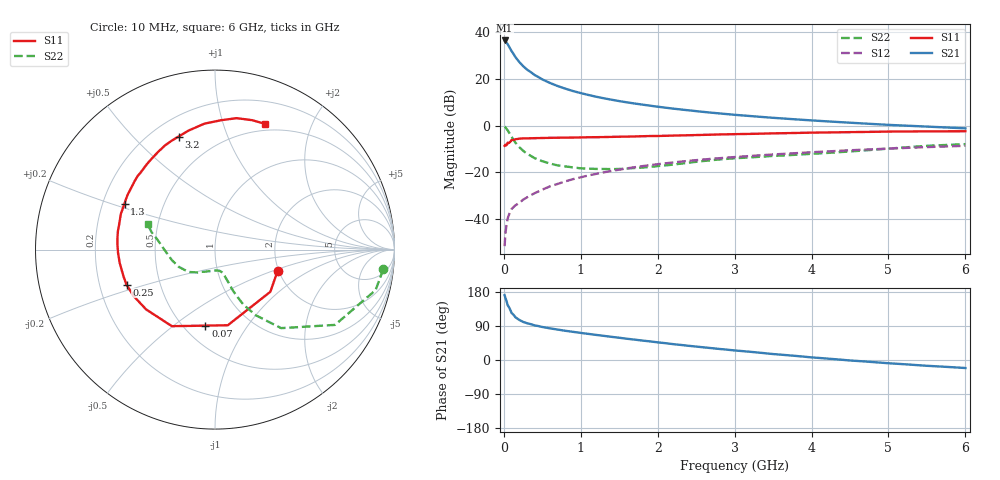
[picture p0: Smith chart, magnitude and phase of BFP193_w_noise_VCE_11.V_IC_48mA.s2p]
! (c) 2017  Infineon Technologies AG, Munich
! Infineon Technologies  Discrete & RF Semiconductors
! BFP193
! VCE =  11. V,  IC =  48 mA
! Common Emitter S-Parameters:  Jan 2017
# GHz  S  MA  R  50
!  f  S11  S21  S12  S22
! GHz  MAG  ANG  MAG  ANG  MAG  ANG  MAG  ANG
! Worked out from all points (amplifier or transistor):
!   77 points, 10 MHz to 6 GHz, reference 50 ohm
!   highest |S21| = 36.4 dB at 10 MHz (marker M1)
!   |S21| within 3 dB of that: start of sweep to 73.8 MHz
!   unconditionally stable (mu >= 1): 644.5 MHz to 2.438 GHz
!   at 130 MHz: K = 0.54, MSG = 32.6 dB, |S12| = -34.8 dB
!   at 2.2 GHz: K = 1.01, MAG = 10.8 dB, |S12| = -15.8 dB
!   at 6 GHz: K = 0.89, MSG = 3.7 dB, |S12| = -8.7 dB
!   lowest NFmin = 1.49 dB at 450 MHz
!   S11 on the Smith chart (normalised r, x): 10 MHz: 1.98, -0.54; 70 MHz: 0.63, -0.66; 250 MHz: 0.32, -0.17; 1.3 GHz: 0.29, +0.22; 3.2 GHz: 0.30, +0.68; 6 GHz: 0.43, +1.39
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0.01  0.3685 -18.5  66.43 171.2  0.0026 72.6  0.9443 -6.7
0.02  0.3877 -37.3  65.53 164.0  0.0048 84.7  0.9226 -14.2
0.05  0.4275 -80.4  55.19 144.6  0.0102 64.0  0.7894 -32.1
0.07  0.4269 -97.2  48.26 138.0  0.0126 61.5  0.6949 -37.9
0.1  0.4897 -119.4  39.55 124.2  0.0162 59.2  0.5718 -49.9
0.15  0.5082 -139.0  29.29 112.9  0.0195 55.2  0.4304 -58.2
0.2  0.5223 -150.3  22.98 105.8  0.0219 57.2  0.3448 -62.7
0.25  0.5303 -158.4  18.79 100.6  0.0257 59.1  0.2885 -64.8
0.3  0.5313 -163.8  15.84 97.1  0.0288 59.7  0.2487 -66.4
0.4  0.5361 -171.9  12.09 91.4  0.0354 63.7  0.2 -67.7
0.5  0.5405 -178.1  9.725 87.1  0.0423 64.9  0.172 -68.9
0.6  0.5443 177.2  8.161 83.5  0.0497 65.3  0.1533 -70.1
0.7  0.5475 173.2  7.01 80.3  0.0561 66.5  0.1398 -71.1
0.9  0.5518 165.7  5.471 74.3  0.071 66.0  0.1267 -75.3
1.1  0.5608 159.3  4.511 68.9  0.0853 65.2  0.1194 -80.0
1.3  0.5655 153.0  3.829 63.7  0.0992 63.6  0.1172 -86.4
2.1  0.6022 131.2  2.413 44.4  0.1549 55.2  0.1399 -117.9
3.1  0.6571 109.7  1.647 23.5  0.2166 43.6  0.2029 -145.9
3.2  0.6616 107.9  1.598 21.7  0.2222 42.5  0.2075 -148.2
4.1  0.7066 93.3  1.257 5.4  0.2728 32.3  0.2526 -169.1
5.1  0.7429 79.3  1.015 -9.8  0.3251 21.1  0.3289 169.7
6  0.7539 68.1  0.87 -21.2  0.3677 11.2  0.3995 159.5
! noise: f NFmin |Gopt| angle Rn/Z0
0.45  1.49  0.42  -171  0.08
0.9  1.54  0.44  -164  0.08
1.9  2.17  0.61  -132  0.22
2.4  2.5  0.64  -119  0.47
